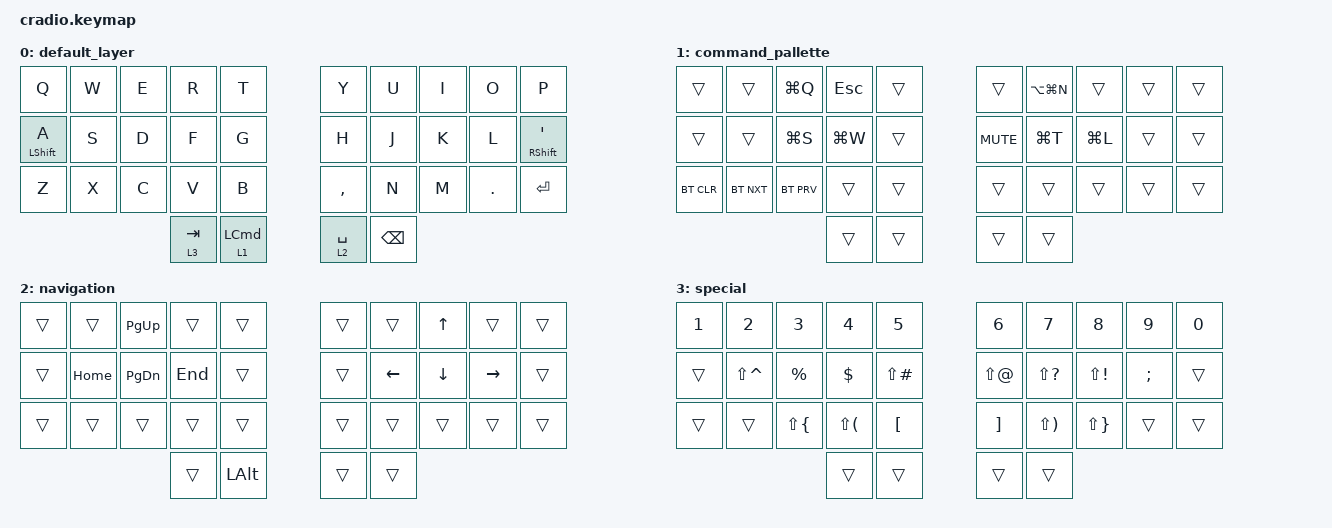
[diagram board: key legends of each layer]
/*
 * Copyright (c) 2020 The ZMK Contributors
 *
 * SPDX-License-Identifier: MIT
 */

#include <behaviors.dtsi>
#include <dt-bindings/zmk/bt.h>
#include <dt-bindings/zmk/keys.h>

&mt {
    //  flavor = "tap-preferred";
    // tapping_term_ms = <200>;
};

/ {
    combos {
        compatible = "zmk,combos";

        combo_esc {
            timeout-ms = <50>;
            key-positions = <0 1>;
            bindings = <&kp ESC>;
        };

        combo_tab {
            timeout-ms = <50>;
            key-positions = <10 11>;
            bindings = <&kp TAB>;
        };

        combo_ralt {
            timeout-ms = <50>;
            key-positions = <17 16>;
            bindings = <&kp RALT>;
        };

        combo_lalt {
            timeout-ms = <50>;
            key-positions = <11 12>;
            bindings = <&kp LALT>;
        };

        combo_lgui {
            timeout-ms = <50>;
            key-positions = <12 13>;
            bindings = <&kp LGUI>;
        };

        combo_rgui {
            timeout-ms = <50>;
            key-positions = <17 18>;
            bindings = <&kp RGUI>;
        };
    };

    keymap {
        compatible = "zmk,keymap";

        default_layer {
            bindings = <
&kp Q             &kp W  &kp E  &kp R      &kp T                 &kp Y        &kp U          &kp I  &kp O    &kp P
&mt LEFT_SHIFT A  &kp S  &kp D  &kp F      &kp G                 &kp H        &kp J          &kp K  &kp L    &mt RIGHT_SHIFT SQT
&kp Z             &kp X  &kp C  &kp V      &kp B                 &kp COMMA    &kp N          &kp M  &kp DOT  &kp RET
                                &lt 3 TAB  &lt 1 LEFT_COMMAND    &lt 2 SPACE  &kp BACKSPACE
            >;
        };

        command_pallette {
            bindings = <
&trans      &trans      &kp LG(Q)   &kp ESCAPE  &trans    &trans      &kp LA(LG(N))  &trans     &trans  &trans
&trans      &trans      &kp LG(S)   &kp LG(W)   &trans    &kp K_MUTE  &kp LG(T)      &kp LG(L)  &trans  &trans
&bt BT_CLR  &bt BT_NXT  &bt BT_PRV  &trans      &trans    &trans      &trans         &trans     &trans  &trans
                                    &trans      &trans    &trans      &trans
            >;
        };

        navigation {
            bindings = <
&trans  &trans    &kp PAGE_UP    &trans   &trans          &trans  &trans          &kp UP_ARROW    &trans           &trans
&trans  &kp HOME  &kp PAGE_DOWN  &kp END  &trans          &trans  &kp LEFT_ARROW  &kp DOWN_ARROW  &kp RIGHT_ARROW  &trans
&trans  &trans    &trans         &trans   &trans          &trans  &trans          &trans          &trans           &trans
                                 &trans   &kp LEFT_ALT    &trans  &trans
            >;
        };

        special {
            bindings = <
&kp N1  &kp N2         &kp N3        &kp N4        &kp N5           &kp N6      &kp N7         &kp N8        &kp N9    &kp N0
&trans  &kp LS(CARET)  &kp PERCENT   &kp DOLLAR    &kp LS(POUND)    &kp LS(AT)  &kp LS(QMARK)  &kp LS(EXCL)  &kp SEMI  &trans
&trans  &trans         &kp LS(LBRC)  &kp LS(LPAR)  &kp LBKT         &kp RBKT    &kp LS(RPAR)   &kp LS(RBRC)  &trans    &trans
                                     &trans        &trans           &trans      &trans
            >;
        };
    };
};
